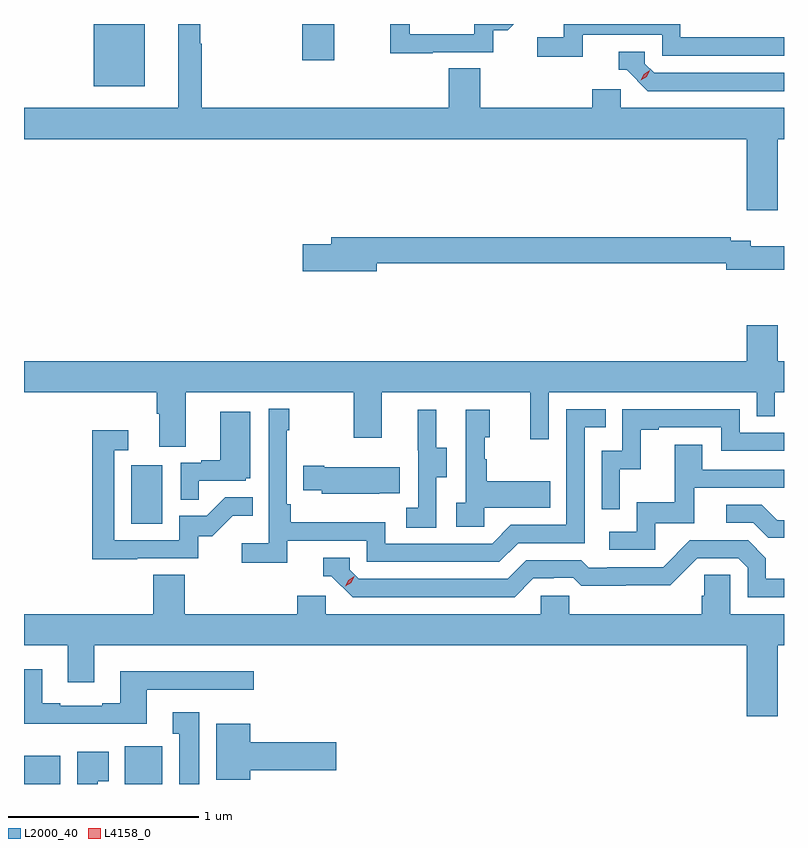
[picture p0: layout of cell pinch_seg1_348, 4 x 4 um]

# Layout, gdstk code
import gdstk
lib = gdstk.Library(unit=1e-6, precision=1e-09)
def R(c, l, rs):  # rectangles x0, y0, x1, y1
    for r in rs: c.add(gdstk.rectangle(r[:2], r[2:], *l))
def P(c, l, *ps):  # polygons
    for p in ps: c.add(gdstk.Polygon(p, *l))
L2000_40 = (2000, 40)
L4158_0 = (4158, 0)

pinch_seg1_348 = lib.new_cell('pinch_seg1_348')
R(pinch_seg1_348, L2000_40, [(964.4,558.994,964.591,559.144), (964.931,558.994,965.128,559.192), (964.964,560.364,965.128,560.671), (964.766,562.667,965.035,562.994), (965.864,562.803,966.034,562.994)])
P(pinch_seg1_348, L2000_40, [(968.368,562.388),(968.4,562.388),(968.4,562.552),(967.542,562.552),(967.542,562.65),(967.391,562.65),(967.391,562.552),(966.8,562.552),(966.8,562.76),(966.635,562.76),(966.635,562.552),(965.335,562.552),(965.335,562.889),(965.328,562.889),(965.328,562.994),(965.213,562.994),(965.213,562.552),(964.4,562.552),(964.4,562.388),(968.204,562.388),(968.204,562.014),(968.368,562.014)],
  [(966.551,562.845),(966.87,562.845),(966.87,562.962),(966.946,562.962),(966.978,562.994),(966.771,562.994),(966.771,562.941),(966.429,562.941),(966.429,562.994),(966.328,562.994),(966.328,562.84),(966.551,562.84)],
  [(967.34,562.938),(967.758,562.938),(967.758,562.827),(968.4,562.827),(968.4,562.923),(967.854,562.923),(967.854,562.994),(967.242,562.994),(967.242,562.924),(967.101,562.924),(967.101,562.822),(967.34,562.822)],
  [(968.4,562.737),(967.716,562.737),(967.668,562.785),(967.668,562.848),(967.529,562.848),(967.529,562.752),(967.572,562.752),(967.683,562.641),(968.4,562.641)],
  [(966.256,561.736),(968.096,561.736),(968.096,561.701),(968.4,561.701),(968.4,561.823),(968.224,561.823),(968.224,561.852),(968.12,561.852),(968.12,561.872),(966.017,561.872),(966.017,561.836),(965.868,561.836),(965.868,561.694),(966.256,561.694)],
  [(965.251,561.056),(966.136,561.056),(966.136,560.817),(966.283,560.817),(966.283,561.056),(967.064,561.056),(967.064,560.808),(967.161,560.808),(967.161,561.056),(968.256,561.056),(968.256,560.929),(968.352,560.929),(968.352,561.056),(968.4,561.056),(968.4,561.22),(968.368,561.22),(968.368,561.409),(968.204,561.409),(968.204,561.22),(964.4,561.22),(964.4,561.056),(965.099,561.056),(965.099,560.944),(965.111,560.944),(965.111,560.77),(965.251,560.77)],
  [(965.786,560.274),(966.204,560.274),(966.204,560.163),(966.901,560.163),(967,560.262),(967.35,560.262),(967.35,560.871),(967.463,560.871),(967.463,560.967),(967.254,560.967),(967.254,560.358),(966.963,560.358),(966.864,560.259),(966.3,560.259),(966.3,560.371),(965.804,560.371),(965.804,560.467),(965.784,560.467),(965.784,560.855),(965.797,560.855),(965.797,560.968),(965.688,560.968),(965.688,560.26),(965.547,560.26),(965.547,560.158),(965.786,560.158)],
  [(967.536,560.651),(967.646,560.651),(967.646,560.859),(967.741,560.859),(967.741,560.871),(968.07,560.871),(968.07,560.748),(968.4,560.748),(968.4,560.844),(968.166,560.844),(968.166,560.967),(967.548,560.967),(967.548,560.748),(967.44,560.748),(967.44,560.439),(967.536,560.439)],
  [(966.57,560.608),(966.625,560.608),(966.625,560.763),(966.571,560.763),(966.571,560.965),(966.473,560.965),(966.473,560.751),(966.474,560.751),(966.474,560.447),(966.411,560.447),(966.411,560.344),(966.57,560.344)],
  [(966.822,560.447),(967.169,560.447),(967.169,560.587),(966.835,560.587),(966.835,560.702),(966.825,560.702),(966.825,560.82),(966.85,560.82),(966.85,560.965),(966.726,560.965),(966.726,560.474),(966.675,560.474),(966.675,560.349),(966.822,560.349)],
  [(965.321,560.589),(965.568,560.589),(965.568,560.604),(965.59,560.604),(965.59,560.953),(965.432,560.953),(965.432,560.698),(965.333,560.698),(965.333,560.685),(965.226,560.685),(965.226,560.491),(965.321,560.491)],
  [(964.997,560.181),(965.316,560.181),(965.316,560.298),(965.392,560.298),(965.499,560.405),(965.603,560.405),(965.603,560.504),(965.459,560.504),(965.361,560.406),(965.217,560.406),(965.217,560.277),(964.875,560.277),(964.875,560.751),(964.948,560.751),(964.948,560.857),(964.759,560.857),(964.759,560.176),(964.997,560.176)],
  [(967.722,560.367),(967.927,560.367),(967.927,560.553),(968.4,560.553),(968.4,560.649),(967.969,560.649),(967.969,560.779),(967.825,560.779),(967.825,560.476),(967.626,560.476),(967.626,560.322),(967.479,560.322),(967.479,560.226),(967.722,560.226)],
  [(966.269,560.525),(966.377,560.525),(966.377,560.662),(965.98,560.662),(965.98,560.67),(965.869,560.67),(965.869,560.54),(965.967,560.54),(965.967,560.522),(966.269,560.522)],
  [(968.4,560.382),(968.365,560.382),(968.284,560.463),(968.097,560.463),(968.097,560.37),(968.238,560.37),(968.318,560.29),(968.4,560.29)],
  [(967.081,560.076),(967.188,560.076),(967.188,560.079),(967.291,560.079),(967.333,560.037),(967.566,560.037),(967.566,560.039),(967.802,560.039),(967.944,560.181),(968.16,560.181),(968.208,560.133),(968.208,559.977),(968.4,559.977),(968.4,560.073),(968.305,560.073),(968.305,560.183),(968.211,560.277),(967.905,560.277),(967.764,560.136),(967.471,560.136),(967.471,560.133),(967.372,560.133),(967.333,560.172),(967.044,560.172),(966.945,560.073),(966.162,560.073),(966.114,560.121),(966.114,560.184),(965.975,560.184),(965.975,560.088),(966.018,560.088),(966.129,559.977),(966.982,559.977)],
  [(968.118,560.096),(967.981,560.096),(967.981,559.986),(967.967,559.986),(967.967,559.888),(967.269,559.888),(967.269,559.986),(967.119,559.986),(967.119,559.888),(965.988,559.888),(965.988,559.986),(965.837,559.986),(965.837,559.888),(965.246,559.888),(965.246,560.096),(965.081,560.096),(965.081,559.888),(964.4,559.888),(964.4,559.724),(964.631,559.724),(964.631,559.53),(964.771,559.53),(964.771,559.724),(968.204,559.724),(968.204,559.35),(968.368,559.35),(968.368,559.724),(968.4,559.724),(968.4,559.888),(968.118,559.888)],
  [(965.047,559.491),(965.608,559.491),(965.608,559.588),(964.907,559.588),(964.907,559.42),(964.811,559.42),(964.811,559.407),(964.591,559.407),(964.591,559.42),(964.495,559.42),(964.495,559.597),(964.4,559.597),(964.4,559.31),(965.047,559.31)],
  [(965.323,559.372),(965.183,559.372),(965.183,559.259),(965.216,559.259),(965.216,558.994),(965.323,558.994)],
  [(965.59,559.067),(966.043,559.067),(966.043,559.214),(965.59,559.214),(965.59,559.312),(965.411,559.312),(965.411,559.016),(965.59,559.016)],
  [(964.789,559.009),(964.846,559.009),(964.846,559.165),(964.679,559.165),(964.679,558.994),(964.789,558.994)])
P(pinch_seg1_348, L4158_0, [(966.092,560.034),(966.092,560.035),(966.107,560.067),(966.138,560.087),(966.138,560.087),(966.138,560.087),(966.122,560.054),(966.092,560.034)],
  [(967.646,562.698),(967.646,562.698),(967.663,562.73),(967.694,562.75),(967.694,562.75),(967.694,562.749),(967.677,562.717),(967.646,562.698)])

lib.write_gds('pinch_seg1_348.gds')
